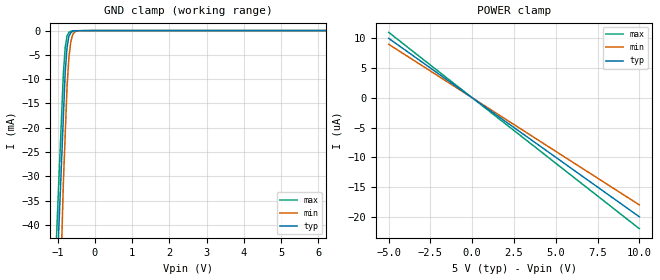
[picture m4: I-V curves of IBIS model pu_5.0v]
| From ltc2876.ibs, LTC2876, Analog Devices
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[Model] pu_5.0v
Model_type Input
Vinl = 1.25000V
Vinh = 3.75000V
C_comp 628.000fF 604.000fF 652.000fF
[Model Spec]
Vinl   1.250V   1.125V   1.375V
Vinh   3.750V   3.375V   4.125V
| variable typ   min   max
[Voltage Range]   5.00000V 4.50000V 5.50000V
[POWER Clamp Reference] 5.00000V 4.50000V 5.50000V
[GND Clamp Reference]   0.00000V 0.00000V 0.00000V
[Temperature Range]   25   125   -40
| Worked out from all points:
|   GND clamp passes 1 mA (typ) near -0.69 V on its own axis
[GND Clamp]
-5V       -800.2mA   -1.175A    -768.8mA
-850mV    -18.07mA   -31.64mA   -9.069mA
-800mV    -8.642mA   -21.61mA   -3.53mA
-750mV    -3.505mA   -11.59mA   -1.101mA
-700mV    -1.183mA   -5.523mA   -372.1uA
-650mV    -460.2uA   -2.352mA   -135.9uA
-600mV    -164.7uA   -847.4uA   -42.78uA
-550mV    -53.24uA   -325.6uA   -38.17uA
-450mV    -38.55uA   -45.81uA   -28.94uA
10V       0A         0A         0A
[POWER Clamp]
-5V       10uA       9uA        11uA
0V        0A         0A         0A
10V       -20uA      -18uA      -22uA
